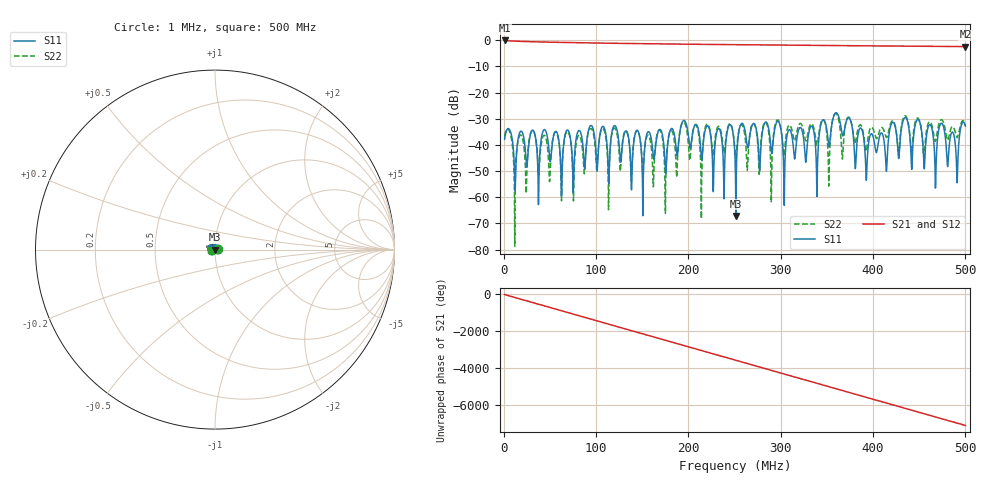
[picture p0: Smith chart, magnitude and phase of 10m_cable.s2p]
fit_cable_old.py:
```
import skrf as rf

from pmrf.statistics import UniformPDF, ParameterSet
from pmrf.modeling.models import PhysicalCoax
from pmrf.fitting import NetworkFitter

# This example shows how to setup a model "manually" and fit that model to data. Here we fit the "PhysicalCoax" model to the 10m cable lab measurement.
# Note that we are also able to define our own models using ParametricNetwork -derived class.
coax = PhysicalCoax(name='coax')

# Setup parameter priors/bounds. We could also leave this out and let the NetworkFitter generate the bounds.
# Parameters follow the model name, then the infix '_' in the fitter settings, and then the parameters of the ParametricNetwork (DatasheetCoax).
# Note that priors aren't actually used as such for frequentist solvers (only ther min/max is used).
wa, wb = 0.8, 1.2
params = ParameterSet(
    columns=['name', 'pdf'],
    data=[
        ['coax_din', UniformPDF(1.12e-3*wa, 1.12e-3*wb)],
        ['coax_dout', UniformPDF(3.2e-3*wa, 3.2e-3*wb)],
        ['coax_len', UniformPDF(10*wa, 10*wb)],
        ['coax_epr', UniformPDF(1.45*wa, 1.45*wb)],
        ['coax_tand', UniformPDF(0.0, 0.1)],
        ['coax_rho', UniformPDF(1.6e-8*wa, 1.6e-8*wb)],
    ]
)

fitter = NetworkFitter(
    output_path='output_cable',
    param_set=params,
    models=[coax],
    measured=[rf.Network('examples/data/10m_cable.s2p', f_unit='MHz')],
    use_measured_frequency=True,
    ports=[(0, 0), (0, 1), (1, 0), (1, 1)], # We could specify which ports we want to fit on specifically
    solver='Nelder-Mead',
    max_iterations=10000,
)

fitter.plotter.plot_S('s_initial')
fitter.fit_params()
fitter.plotter.plot_S('s_opt')
```
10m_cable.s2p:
! MS46122B
! 1746301/73750021
! 11/1/2023 4:11:00 PM
! C:\USERS\SPEGWAL\DOWNLOADS\SAURABH\REACH\NODES\FRONT END\MEASUREMENTS\MEASURED S-PARAMETERS_01-11-2023\CABLES\10M_P1A1-P2A2.S2P
! CHANNEL.1
! TR.MEASUREMENT
! CORRECTED.DATA
# GHZ S RI R 50.0
! FREQ.GHZ  S11RE  S11IM  S21RE  S21IM  S12RE  S12IM  S22RE  S22IM
!; PortSelection: Port_12
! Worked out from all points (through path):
!   2001 points, 1 MHz to 500 MHz, reference 50 ohm
!   highest |S21| = -0.10 dB at 1.25 MHz (marker M1); lowest = -2.4 dB at 500 MHz (marker M2)
!   group delay of S21, straight-line fit = 39.6 ns
!   lowest |S11| = -67.1 dB at 251.5 MHz (marker M3), VSWR 1.00, Z = 50 - j0.0439 ohm
!   |S11| at or under -10 dB: start of sweep to end of sweep
!   |S22| runs from -78.7 to -28.0 dB; largest |S21 - S12| = 0.0043
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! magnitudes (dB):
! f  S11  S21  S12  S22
! 1 MHz  -37.9  -0.1  -0.1  -36.7
! 1.25 MHz  -37.1  -0.1  -0.1  -36.2
! 11.98 MHz  -53.7  -0.4  -0.4  -78.7
! 31.19 MHz  -34.4  -0.6  -0.6  -34.4
! 175.2 MHz  -49.7  -1.4  -1.4  -66.1
! 195.1 MHz  -30.6  -1.5  -1.5  -31.3
! 250.5 MHz  -45.0  -1.7  -1.7  -42.5
! 251.5 MHz  -67.1  -1.7  -1.7  -44.9
! 258 MHz  -31.8  -1.7  -1.7  -32.3
! 303.9 MHz  -63.1  -1.9  -1.9  -43.3
! 500 MHz  -32.8  -2.4  -2.4  -32.6
